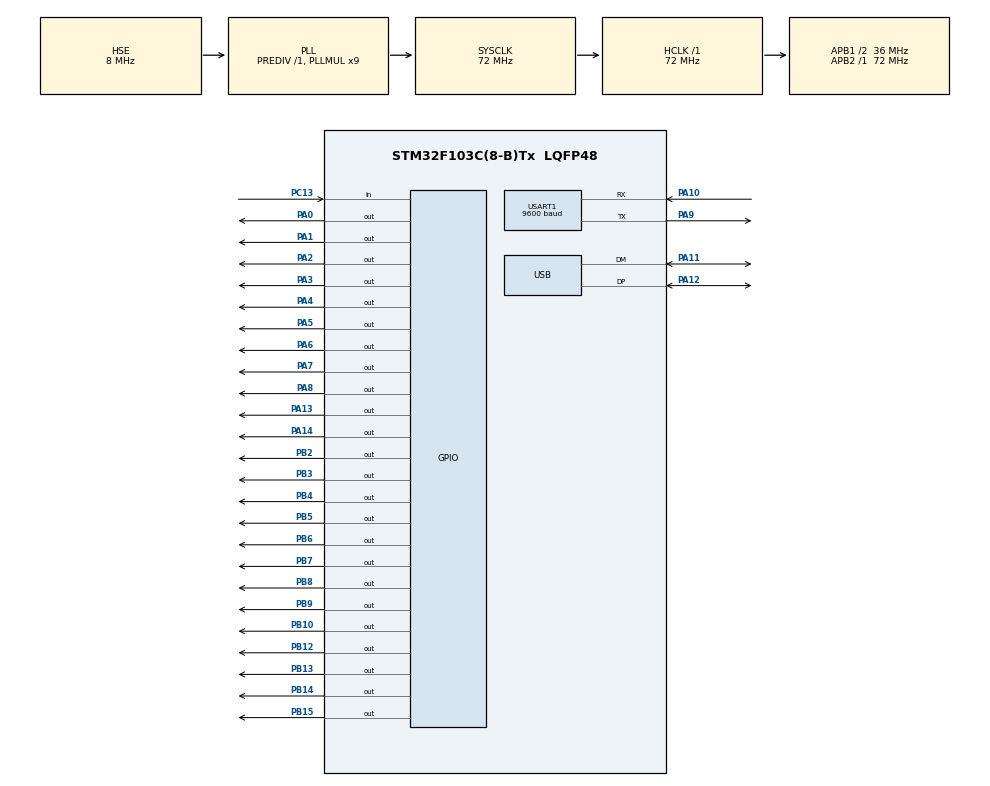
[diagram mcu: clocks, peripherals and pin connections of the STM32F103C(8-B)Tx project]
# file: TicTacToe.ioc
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Mcu.Family=STM32F1
Mcu.Name=STM32F103C(8-B)Tx
Mcu.Package=LQFP48
NVIC.PriorityGroup=NVIC_PRIORITYGROUP_4
NVIC.TIM2_IRQn=true\:0\:0\:false\:false\:true\:true\:true\:true
NVIC.USB_LP_CAN1_RX0_IRQn=true\:0\:0\:false\:false\:true\:false\:true\:true
PA0-WKUP.Signal=GPIO_Output
PA1.Signal=GPIO_Output
PA10.Mode=Asynchronous
PA10.Signal=USART1_RX
PA11.Mode=Device
PA11.Signal=USB_DM
PA12.Mode=Device
PA12.Signal=USB_DP
PA13.Signal=GPIO_Output
PA14.Signal=GPIO_Output
PA2.Signal=GPIO_Output
PA3.Signal=GPIO_Output
PA4.Signal=GPIO_Output
PA5.Signal=GPIO_Output
PA6.Signal=GPIO_Output
PA7.Signal=GPIO_Output
PA8.Signal=GPIO_Output
PA9.Mode=Asynchronous
PA9.Signal=USART1_TX
PB10.Signal=GPIO_Output
PB12.Signal=GPIO_Output
PB13.Signal=GPIO_Output
PB14.Signal=GPIO_Output
PB15.Signal=GPIO_Output
PB2.Signal=GPIO_Output
PB3.Signal=GPIO_Output
PB4.Signal=GPIO_Output
PB5.Signal=GPIO_Output
PB6.Signal=GPIO_Output
PB7.Signal=GPIO_Output
PB8.Signal=GPIO_Output
PB9.Signal=GPIO_Output
PC13-TAMPER-RTC.Signal=GPIO_Input
PD0-OSC_IN.Mode=HSE-External-Oscillator
PD0-OSC_IN.Signal=RCC_OSC_IN
PD1-OSC_OUT.Mode=HSE-External-Oscillator
PD1-OSC_OUT.Signal=RCC_OSC_OUT
ProjectManager.HeapSize=0x200
ProjectManager.StackSize=0x400
ProjectManager.TargetToolchain=Makefile
RCC.AHBFreq_Value=72000000
RCC.APB1CLKDivider=RCC_HCLK_DIV2
RCC.APB1Freq_Value=36000000
RCC.APB1TimFreq_Value=72000000
RCC.APB2Freq_Value=72000000
RCC.APB2TimFreq_Value=72000000
RCC.HCLKFreq_Value=72000000
RCC.PLLMUL=RCC_PLL_MUL9
RCC.SYSCLKFreq_VALUE=72000000
RCC.SYSCLKSource=RCC_SYSCLKSOURCE_PLLCLK
RCC.USBFreq_Value=48000000
RCC.USBPrescaler=RCC_USBCLKSOURCE_PLL_DIV1_5
USART1.BaudRate=9600
USART1.VirtualMode=VM_ASYNC
USB_DEVICE.CLASS_NAME_FS=CDC
USB_DEVICE.VirtualMode=Cdc
USB_DEVICE.VirtualModeFS=Cdc_FS
VP_SYS_VS_ND.Mode=No_Debug
VP_TIM2_VS_ClockSourceINT.Mode=Internal
VP_USB_DEVICE_VS_USB_DEVICE_CDC_FS.Mode=CDC_FS
board=custom

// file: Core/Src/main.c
/* USER CODE BEGIN Header */
/**
  ******************************************************************************
  * @file           : main.c
  * @brief          : Main program body
  ******************************************************************************
  * @attention
  *
  * Copyright (c) 2024 STMicroelectronics.
  * All rights reserved.
  *
  * This software is licensed under terms that can be found in the LICENSE file
  * in the root directory of this software component.
  * If no LICENSE file comes with this software, it is provided AS-IS.
  *
  ******************************************************************************
  */
/* USER CODE END Header */
#include "main.h"
#include "usb_device.h"

/* USER CODE BEGIN Includes */
#include <stdio.h>      // add for printf
#include <string.h>
#include <stdbool.h>
/* USER CODE END Includes */

/* USER CODE BEGIN PD */
#define BOARD 3
/* USER CODE END PD */

TIM_HandleTypeDef htim2;
UART_HandleTypeDef huart1;

/* USER CODE BEGIN PV */
uint8_t uart_buf[1];
// initializare tabla 3x3
char board[BOARD][BOARD];
// verificare ca ledul se aprinde pentru pinul corect
//ROSU
int ledpinr[9] = {0,1,2,3,4,5,6,7,13};
//VERDE
int ledpinv[9] = {5,6,7,8,9,10,11,12,13};
//Initializare vectori pentru utilizarea mai usoara si eficienta a pinilor
uint16_t greenPins[] = {GPIO_PIN_2, GPIO_PIN_3, GPIO_PIN_4, GPIO_PIN_5, GPIO_PIN_6, GPIO_PIN_7, GPIO_PIN_8, GPIO_PIN_9, GPIO_PIN_10}; //VERZI
uint16_t redPins[] = {GPIO_PIN_0, GPIO_PIN_1, GPIO_PIN_2, GPIO_PIN_3, GPIO_PIN_4, GPIO_PIN_5, GPIO_PIN_6, GPIO_PIN_7, GPIO_PIN_13}; // ROSII
/* USER CODE END PV */

void SystemClock_Config(void);
static void MX_GPIO_Init(void);
static void MX_USART1_UART_Init(void);
static void MX_TIM2_Init(void);
void initializeBoard();
void printBoard();
void ResetLEDS();

/* USER CODE BEGIN 0 */

#ifdef __GNUC__
#define PUTCHAR_PROTOTYPE int __io_putchar(int ch)
#else
#define PUTCHAR_PROTOTYPE int fputc(int ch, FILE *f)
#endif

/**
  * @brief  Retargets the C library printf function to the USART.
  * @param  None
  * @retval None
  */
PUTCHAR_PROTOTYPE
{
  HAL_UART_Transmit(&huart1, (uint8_t *)&ch, 1, 0xFFFF);
  return ch;
}

/* also redefine _write for printf*/
int _write(int fd, char * ptr, int len)
{
  HAL_UART_Transmit(&huart1, (uint8_t *) ptr, len, HAL_MAX_DELAY);
  return len;
}
// Functie pentru trimiterea mesajelor prin UART
void sendMessage(const char* message) {
    HAL_UART_Transmit(&huart1, (uint8_t*)message, strlen(message), HAL_MAX_DELAY);
}

// Functie pentru citirea unui numar de la UART
int readSerialNumber(void) {
    uint8_t character;
    while(1) {
        HAL_UART_Receive(&huart1, &character, 1, HAL_MAX_DELAY);
        if(character >= '1' && character <= '9') {
            return (character - '0');
        }
    }
}

// Initializeaza tabla cu spatii goale
void initializeBoard() {
    for (int i = 0; i < BOARD; i++) {
        for (int j = 0; j < BOARD; j++) {
            board[i][j] = ' ';
        }
    }
}

// reseteaza led-urile la starea 0
void resetLEDS() {
  for (int i = 0; i < 0; i++){
    HAL_GPIO_WritePin(GPIOA, redPins[i], GPIO_PIN_RESET);
    HAL_GPIO_WritePin(GPIOB, greenPins[i], GPIO_PIN_RESET);
  }
}

// Printeaza tabla pe consola
void printBoard() {
  char buffer[100];

  for (int i = 0; i < BOARD; i++) {
        for (int j = 0; j < BOARD; j++) {
            sprintf(buffer, " %c ", board[i][j]);
            sendMessage(buffer);
            if (j < BOARD - 1) sendMessage("|");
        }
        printf("\n");
        if (i < BOARD - 1) sendMessage("---+---+---\n");
    }
}

int checkWin() {
    // Linii, coloane si diagonale 'X' SAU '0'
    for (int i = 0; i < 3; i++) {
        if (board[i][0] != ' ' && board[i][0] == board[i][1] && board[i][1] == board[i][2]) {
            return 1;
        }
        if (board[0][i] != ' ' && board[0][i] == board[1][i] && board[1][i] == board[2][i]) {
            return 1;
        }
    }

    if (board[0][0] != ' ' && board[0][0] == board[1][1] && board[1][1] == board[2][2]) {
        return 1;
    }
    if (board[0][2] != ' ' && board[0][2] == board[1][1] && board[1][1] == board[2][0]) {
        return 1;
    }
    // Verifica remiza
    for (int i = 0; i < 3; i++) {
        for (int j = 0; j < 3; j++) {
            if (board[i][j] == ' ') {
                return 0; // Inca merge jocul
            }
        }
    }

    return -1; // remiza
}

// Efect de victorie pentru X
void victoryX(void) {
    // Stingem ledurile
    for(int i = 0; i < 9; i++) {
        HAL_GPIO_WritePin(GPIOA, redPins[i], GPIO_PIN_RESET);
        HAL_GPIO_WritePin(GPIOB, greenPins[i], GPIO_PIN_RESET);
    }

    // Efect de clipire pentru victoria lui X
    for(int i = 0; i < 9; i++) {
        // Aprinde toate LED-urile
        for(int j = 0; j < 9; j++) {
            HAL_GPIO_WritePin(GPIOA, redPins[i], GPIO_PIN_SET);
        }
        HAL_Delay(200);

        // Stinge toate LED-urile
        for(int j = 0; j < 9; j++) {
            HAL_GPIO_WritePin(GPIOA, redPins[i], GPIO_PIN_RESET);
        }
        HAL_Delay(200);
    }
}

// Efect de victorie pentru 0
void victory0(void) {
    // Stingem ledurile
    for(int i = 0; i < 9; i++) {
        HAL_GPIO_WritePin(GPIOA, redPins[i], GPIO_PIN_RESET);
        HAL_GPIO_WritePin(GPIOB, greenPins[i], GPIO_PIN_RESET);
    }

    // Efect de clipire pentru victoria lui 0
    for(int i = 0; i < 9; i++) {
        // Aprinde toate LED-urile
        for(int j = 0; j < 9; j++) {
            HAL_GPIO_WritePin(GPIOB, greenPins[i], GPIO_PIN_SET);
        }
        HAL_Delay(200);

        // Stinge toate LED-urile
        for(int j = 0; j < 9; j++) {
            HAL_GPIO_WritePin(GPIOB, greenPins[i], GPIO_PIN_RESET);
        }
        HAL_Delay(200);
    }
}

void alternatingEffect(void) {
    // Repetam efectul de 3 ori
    for(int repeat = 0; repeat < 3; repeat++) {
        // Mergem de la stanga la dreapta
        for(int i = 0; i < 9; i++) {
            // Aprinde LED-ul curent (rosu cat si verde)
            HAL_GPIO_WritePin(GPIOA, redPins[i] , GPIO_PIN_SET);
            HAL_GPIO_WritePin(GPIOB, greenPins[i] , GPIO_PIN_SET);

            HAL_Delay(100);  // Asteapta

            // Stinge LED-ul curent
            HAL_GPIO_WritePin(GPIOA, redPins[i] , GPIO_PIN_RESET);
            HAL_GPIO_WritePin(GPIOB, greenPins[i] , GPIO_PIN_RESET);
        }

        // Mergem de la dreapta la stânga
        for(int i = 8; i >= 0; i--) {
            // Aprinde LED-ul curent (rosu cat si verde)
            HAL_GPIO_WritePin(GPIOA, redPins[i] , GPIO_PIN_SET);
            HAL_GPIO_WritePin(GPIOB, greenPins[i] , GPIO_PIN_SET);

            HAL_Delay(100);  // Asteapta

            // Stinge LED-ul curent
            HAL_GPIO_WritePin(GPIOA, redPins[i] , GPIO_PIN_RESET);
            HAL_GPIO_WritePin(GPIOB, greenPins[i] , GPIO_PIN_RESET);
        }
    }
}

/* USER CODE END 0 */

int main(void)
{
  int player = 1; //Player 1 starts
  int decizie;
  char buffer[80];
  int position;
  int row, col;

  HAL_Init();

  SystemClock_Config();

  MX_GPIO_Init();
  MX_USART1_UART_Init();
  MX_USB_DEVICE_Init();
  MX_TIM2_Init();

  HAL_UART_Receive_IT(&huart1, uart_buf, 1);
  HAL_TIM_Base_Start_IT(&htim2);

  if (HAL_UART_Init(&huart1) != HAL_OK) {
        Error_Handler();
    }
    resetLEDS();
    initializeBoard();
    while(1) {
    printBoard();
    sprintf(buffer, "Player %d, enter a number ( 1 - 9 ):\r\n ", player);
    sendMessage(buffer);
    position = readSerialNumber();
    if( player == 1 ) {
      sprintf(buffer, "Pinul pentru ledul rosu PA%d", ledpinr[position - 1]);
      sendMessage(buffer);
      HAL_GPIO_WritePin(GPIOA, redPins[position - 1], GPIO_PIN_SET);
    } else {
      sprintf(buffer, "Pinul pentru ledul verde PB%d", ledpinv[position - 1]);
      sendMessage(buffer);
      HAL_GPIO_WritePin(GPIOB, greenPins[position - 1], GPIO_PIN_SET);
    }
    sendMessage("\r\n");
    row = (position - 1) / 3;
    col = (position - 1) % 3;

    if (position < 1 || position > 9 || board[row][col] != ' ') {
          printf("Invalid input. Try again.\n");
        continue;
    }

    board[row][col] = (player == 1) ? 'X' : 'O';

    int result = checkWin();
    if (result == 1) {
        printBoard();
        sprintf(buffer, "Player %d wins!\n", player);
        sendMessage(buffer);
        if(player == 1) {
          victoryX();
        } else {
        victory0();
        }
    } else if (result == -1) {
        printBoard();
        sendMessage("It's a draw!\n");
        alternatingEffect();
     }

      player = (player == 1) ? 2 : 1;

      if ( result == 1 || result == -1) {
        sprintf(buffer, " Daca doriti un nou joc introduceti tasta '1' sau '2' pentru a opri jocul: ");
        sendMessage(buffer);
        decizie = readSerialNumber();
          if ( decizie == 1){
            resetLEDS();
            initializeBoard();
            continue;
          }
            else {
              sprintf(buffer,"Jocul a fost oprit! Apasati reset pentru un nou joc.");
              sendMessage(buffer);
              break;
            }
      }
   }

    return 0;

}

void SystemClock_Config(void)
{
  RCC_OscInitTypeDef RCC_OscInitStruct = {0};
  RCC_ClkInitTypeDef RCC_ClkInitStruct = {0};
  RCC_PeriphCLKInitTypeDef PeriphClkInit = {0};

  /** Initializes the RCC Oscillators according to the specified parameters
  * in the RCC_OscInitTypeDef structure.
  */
  RCC_OscInitStruct.OscillatorType = RCC_OSCILLATORTYPE_HSE;
  RCC_OscInitStruct.HSEState = RCC_HSE_ON;
  RCC_OscInitStruct.HSEPredivValue = RCC_HSE_PREDIV_DIV1;
  RCC_OscInitStruct.HSIState = RCC_HSI_ON;
  RCC_OscInitStruct.PLL.PLLState = RCC_PLL_ON;
  RCC_OscInitStruct.PLL.PLLSource = RCC_PLLSOURCE_HSE;
  RCC_OscInitStruct.PLL.PLLMUL = RCC_PLL_MUL9;
  if (HAL_RCC_OscConfig(&RCC_OscInitStruct) != HAL_OK)
  {
    Error_Handler();
  }

  /** Initializes the CPU, AHB and APB buses clocks
  */
  RCC_ClkInitStruct.ClockType = RCC_CLOCKTYPE_HCLK|RCC_CLOCKTYPE_SYSCLK
                              |RCC_CLOCKTYPE_PCLK1|RCC_CLOCKTYPE_PCLK2;
  RCC_ClkInitStruct.SYSCLKSource = RCC_SYSCLKSOURCE_PLLCLK;
  RCC_ClkInitStruct.AHBCLKDivider = RCC_SYSCLK_DIV1;
  RCC_ClkInitStruct.APB1CLKDivider = RCC_HCLK_DIV2;
  RCC_ClkInitStruct.APB2CLKDivider = RCC_HCLK_DIV1;

  if (HAL_RCC_ClockConfig(&RCC_ClkInitStruct, FLASH_LATENCY_2) != HAL_OK)
  {
    Error_Handler();
  }
  PeriphClkInit.PeriphClockSelection = RCC_PERIPHCLK_USB;
  PeriphClkInit.UsbClockSelection = RCC_USBCLKSOURCE_PLL_DIV1_5;
  if (HAL_RCCEx_PeriphCLKConfig(&PeriphClkInit) != HAL_OK)
  {
    Error_Handler();
  }
}

static void MX_TIM2_Init(void)
{

  TIM_ClockConfigTypeDef sClockSourceConfig = {0};
  TIM_MasterConfigTypeDef sMasterConfig = {0};
  TIM_OC_InitTypeDef sConfigOC = {0};

  /* USER CODE BEGIN TIM2_Init  1 */

  /* USER CODE END TIM2_Init 1 */
  htim2.Instance = TIM2;
  htim2.Init.Prescaler = 7199;
  htim2.Init.CounterMode = TIM_COUNTERMODE_UP;
  htim2.Init.Period = 100;
  htim2.Init.ClockDivision = TIM_CLOCKDIVISION_DIV1;
  htim2.Init.AutoReloadPreload = TIM_AUTORELOAD_PRELOAD_DISABLE;
  if (HAL_TIM_Base_Init(&htim2) != HAL_OK)
  {
    Error_Handler();
  }
  sClockSourceConfig.ClockSource = TIM_CLOCKSOURCE_INTERNAL;
  if (HAL_TIM_ConfigClockSource(&htim2, &sClockSourceConfig) != HAL_OK)
  {
    Error_Handler();
  }
  if (HAL_TIM_OC_Init(&htim2) != HAL_OK)
  {
    Error_Handler();
  }
  sMasterConfig.MasterOutputTrigger = TIM_TRGO_RESET;
  sMasterConfig.MasterSlaveMode = TIM_MASTERSLAVEMODE_DISABLE;
  if (HAL_TIMEx_MasterConfigSynchronization(&htim2, &sMasterConfig) != HAL_OK)
  {
    Error_Handler();
  }
  sConfigOC.OCMode = TIM_OCMODE_TIMING;
  sConfigOC.Pulse = 0;
  sConfigOC.OCPolarity = TIM_OCPOLARITY_HIGH;
  sConfigOC.OCFastMode = TIM_OCFAST_DISABLE;
  if (HAL_TIM_OC_ConfigChannel(&htim2, &sConfigOC, TIM_CHANNEL_1) != HAL_OK)
  {
    Error_Handler();
  }

}

static void MX_USART1_UART_Init(void)
{

  huart1.Instance = USART1;
  huart1.Init.BaudRate = 9600;
  huart1.Init.WordLength = UART_WORDLENGTH_8B;
  huart1.Init.StopBits = UART_STOPBITS_1;
  huart1.Init.Parity = UART_PARITY_NONE;
  huart1.Init.Mode = UART_MODE_TX_RX;
  huart1.Init.HwFlowCtl = UART_HWCONTROL_NONE;
  huart1.Init.OverSampling = UART_OVERSAMPLING_16;
  if (HAL_UART_Init(&huart1) != HAL_OK)
  {
    Error_Handler();
  }

}

static void MX_GPIO_Init(void)
{
  GPIO_InitTypeDef GPIO_InitStruct = {0};

  /* GPIO Ports Clock Enable */
  __HAL_RCC_GPIOC_CLK_ENABLE();
  __HAL_RCC_GPIOD_CLK_ENABLE();
  __HAL_RCC_GPIOA_CLK_ENABLE();
  __HAL_RCC_GPIOB_CLK_ENABLE();

  /*Configure GPIO pin Output Level */
  HAL_GPIO_WritePin(GPIOA,GPIO_PIN_0|GPIO_PIN_1|GPIO_PIN_2|GPIO_PIN_3|GPIO_PIN_4|GPIO_PIN_5|GPIO_PIN_6|GPIO_PIN_7|GPIO_PIN_13, GPIO_PIN_RESET);

  /*Configure GPIO pin Output Level */
  HAL_GPIO_WritePin(GPIOB,GPIO_PIN_2|GPIO_PIN_3|GPIO_PIN_4|GPIO_PIN_5|GPIO_PIN_6|GPIO_PIN_7|GPIO_PIN_8|GPIO_PIN_9|GPIO_PIN_10|GPIO_PIN_11, GPIO_PIN_RESET);

  /*Configure GPIO pin : PC13 */
  GPIO_InitStruct.Pin = GPIO_PIN_13;
  GPIO_InitStruct.Mode = GPIO_MODE_INPUT;
  GPIO_InitStruct.Pull = GPIO_PULLUP;
  HAL_GPIO_Init(GPIOC, &GPIO_InitStruct);

  /*Configure GPIO pins : PB2 - PB10*/
  GPIO_InitStruct.Pin = GPIO_PIN_2|GPIO_PIN_3|GPIO_PIN_4|GPIO_PIN_5|GPIO_PIN_6|GPIO_PIN_7|GPIO_PIN_8|GPIO_PIN_9|GPIO_PIN_10;
  GPIO_InitStruct.Mode = GPIO_MODE_OUTPUT_PP;
  GPIO_InitStruct.Pull = GPIO_NOPULL;
  GPIO_InitStruct.Speed = GPIO_SPEED_FREQ_LOW;
  HAL_GPIO_Init(GPIOB, &GPIO_InitStruct);

  /*Configure GPIO pin : PA0 - PA8 precum si PA13*/
  GPIO_InitStruct.Pin = GPIO_PIN_1|GPIO_PIN_2|GPIO_PIN_3|GPIO_PIN_0|GPIO_PIN_4|GPIO_PIN_5|GPIO_PIN_6|GPIO_PIN_7|GPIO_PIN_13;
  GPIO_InitStruct.Mode = GPIO_MODE_OUTPUT_PP;
  GPIO_InitStruct.Pull = GPIO_NOPULL;
  GPIO_InitStruct.Speed = GPIO_SPEED_FREQ_LOW;
  HAL_GPIO_Init(GPIOA, &GPIO_InitStruct);

}

void Error_Handler(void)
{
  __disable_irq();
  while (1)
  {
  }
}
